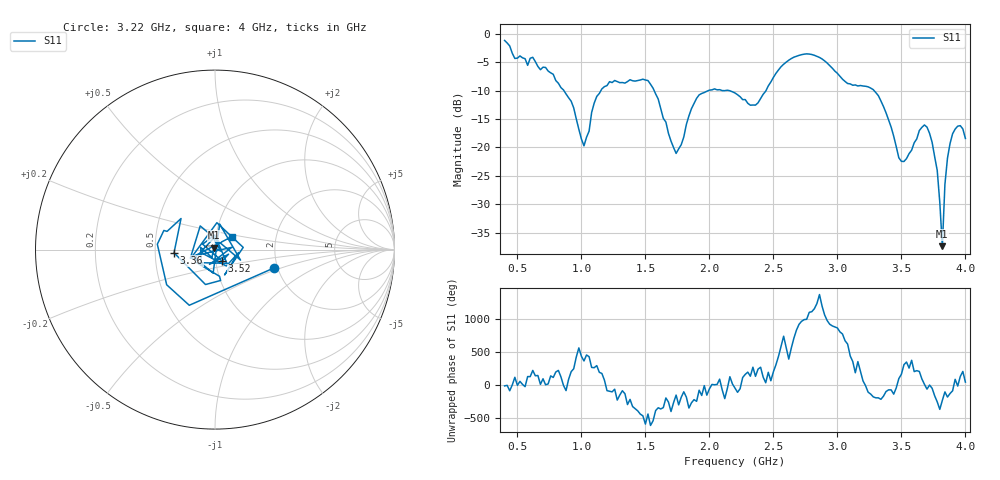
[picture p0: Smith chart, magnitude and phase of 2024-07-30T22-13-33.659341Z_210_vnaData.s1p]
!Created with skrf (http://scikit-rf.org).
# Hz S RI R 50.0
!freq ReS11 ImS11
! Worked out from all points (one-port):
!   181 points, 400 MHz to 4 GHz, reference 50 ohm
!   lowest |S11| = -37.4 dB at 3.82 GHz (marker M1), VSWR 1.03, Z = 49.3 + j1.13 ohm
!   |S11| at or under -10 dB: 1.568 GHz to 1.991 GHz (422.6 MHz wide, 23.7 % of centre); 2.156 GHz to 2.442 GHz (286.5 MHz wide, 12.5 % of centre); 3.287 GHz to end of sweep (the widest 3 of 5)
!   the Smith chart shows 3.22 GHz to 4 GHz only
!   S11 on the Smith chart (normalised r, x): 3.22 GHz: 1.92, -0.44; 3.36 GHz: 0.63, -0.02; 3.52 GHz: 1.07, -0.14; 4 GHz: 1.20, +0.18
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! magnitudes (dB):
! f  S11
! 400 MHz  -1.2
! 860 MHz  -9.9
! 940 MHz  -13.0
! 1.02 GHz  -19.7
! 1.12 GHz  -11.0
! 1.3 GHz  -8.6
! 1.52 GHz  -8.2
! 1.74 GHz  -21.1
! 1.76 GHz  -20.3
! 1.92 GHz  -10.7
! 2.2 GHz  -10.4
! 2.36 GHz  -12.6
! 2.66 GHz  -4.1
! 2.86 GHz  -4.2
! 3.1 GHz  -8.8
! 3.22 GHz  -9.2
! 3.36 GHz  -12.8
! 3.48 GHz  -21.8
! 3.52 GHz  -22.5
! 3.56 GHz  -21.1
! 3.66 GHz  -16.5
! 3.72 GHz  -17.5
! 3.78 GHz  -24.1
! 3.82 GHz  -37.4
! 3.84 GHz  -26.5
! 3.88 GHz  -19.3
! 3.94 GHz  -16.3
! 4 GHz  -18.4
